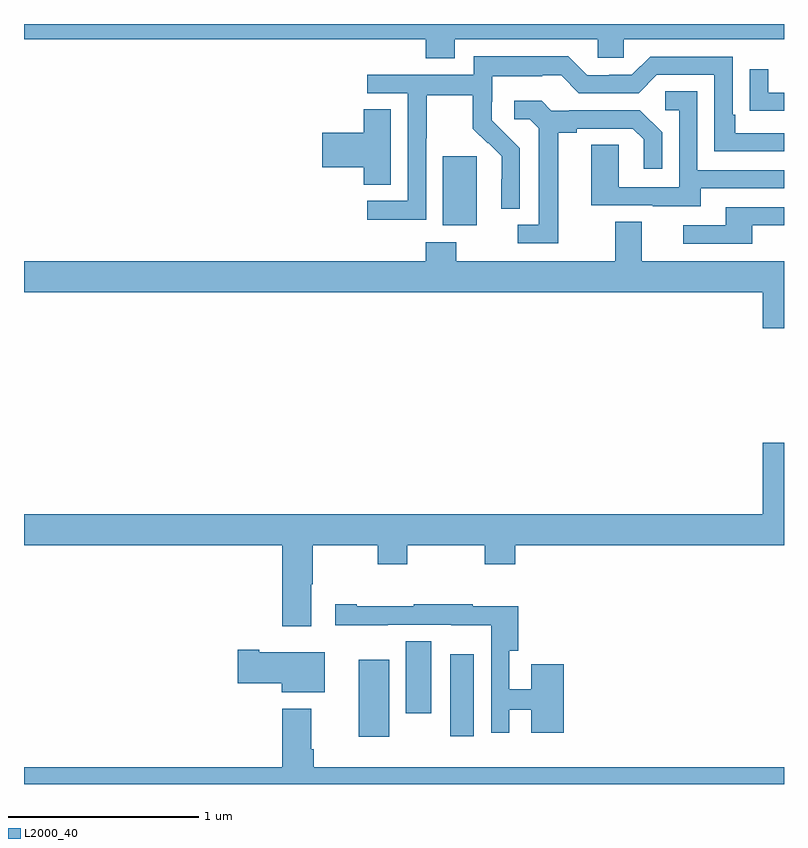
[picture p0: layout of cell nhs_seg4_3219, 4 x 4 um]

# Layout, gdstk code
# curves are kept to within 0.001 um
import gdstk
lib = gdstk.Library(unit=1e-6, precision=1e-09)
def R(c, l, rs):  # rectangles x0, y0, x1, y1
    for r in rs: c.add(gdstk.rectangle(r[:2], r[2:], *l))
def P(c, l, *ps):  # polygons
    for p in ps: c.add(gdstk.Polygon(p, *l))
L2000_40 = (2000, 40)

nhs_seg4_3219 = lib.new_cell('nhs_seg4_3219')
R(nhs_seg4_3219, L2000_40, [(282.761,793.149,282.922,793.555), (283.244,793.152,283.366,793.582), (283.01,793.272,283.144,793.652), (283.205,795.842,283.384,796.203)])
P(nhs_seg4_3219, L2000_40, [(283.267,796.82),(284.019,796.82),(284.019,796.722),(284.157,796.722),(284.157,796.82),(285,796.82),(285,796.9),(281,796.9),(281,796.82),(283.115,796.82),(283.115,796.721),(283.267,796.721)],
  [(283.116,796.3),(283.119,796.3),(283.119,796.524),(283.363,796.524),(283.363,796.349),(283.44,796.272),(283.443,796.275),(283.514,796.205),(283.514,796.082),(283.512,796.082),(283.512,795.928),(283.608,795.928),(283.608,796.246),(283.462,796.394),(283.462,796.491),(283.464,796.491),(283.464,796.625),(283.727,796.625),(283.727,796.629),(283.827,796.629),(283.92,796.536),(284.235,796.536),(284.331,796.632),(284.634,796.632),(284.634,796.23),(285,796.23),(285,796.326),(284.743,796.326),(284.743,796.423),(284.73,796.423),(284.73,796.728),(284.295,796.728),(284.199,796.632),(284.081,796.632),(284.081,796.629),(283.965,796.629),(283.865,796.729),(283.368,796.729),(283.368,796.632),(282.807,796.632),(282.807,796.536),(283.02,796.536),(283.02,795.969),(282.807,795.969),(282.807,795.871),(283.116,795.871)],
  [(285,796.539),(284.917,796.539),(284.917,796.663),(284.821,796.663),(284.821,796.444),(284.923,796.444),(284.923,796.443),(285,796.443)],
  [(284.563,796.035),(285,796.035),(285,796.131),(284.544,796.131),(284.544,796.547),(284.376,796.547),(284.376,796.446),(284.448,796.446),(284.448,796.041),(284.13,796.041),(284.13,796.265),(283.985,796.265),(283.985,795.945),(284.309,795.945),(284.309,795.941),(284.563,795.941)],
  [(283.813,796.328),(283.909,796.328),(283.909,796.35),(284.204,796.35),(284.261,796.293),(284.261,796.137),(284.358,796.137),(284.358,796.33),(284.242,796.446),(283.87,796.446),(283.87,796.443),(283.776,796.443),(283.724,796.495),(283.581,796.495),(283.581,796.398),(283.662,796.398),(283.709,796.351),(283.709,795.843),(283.599,795.843),(283.599,795.747),(283.813,795.747)],
  [(282.931,796.451),(282.788,796.451),(282.788,796.328),(282.57,796.328),(282.57,796.145),(282.788,796.145),(282.788,796.054),(282.931,796.054)],
  [(284.833,795.84),(285,795.84),(285,795.936),(284.693,795.936),(284.693,795.84),(284.469,795.84),(284.469,795.744),(284.833,795.744)],
  [(285,795.652),(284.251,795.652),(284.251,795.86),(284.111,795.86),(284.111,795.652),(283.275,795.652),(283.275,795.751),(283.115,795.751),(283.115,795.652),(281,795.652),(281,795.488),(284.888,795.488),(284.888,795.3),(285,795.3)],
  [(282.511,793.952),(282.519,793.952),(282.519,794.156),(282.862,794.156),(282.862,794.057),(283.017,794.057),(283.017,794.156),(283.426,794.156),(283.426,794.057),(283.586,794.057),(283.586,794.156),(285,794.156),(285,794.695),(284.888,794.695),(284.888,794.32),(281,794.32),(281,794.156),(282.359,794.156),(282.359,793.731),(282.511,793.731)],
  [(283.554,793.29),(283.67,793.29),(283.67,793.17),(283.841,793.17),(283.841,793.531),(283.67,793.531),(283.67,793.4),(283.554,793.4),(283.554,793.601),(283.601,793.601),(283.601,793.836),(283.361,793.836),(283.361,793.846),(283.051,793.846),(283.051,793.836),(282.751,793.836),(282.751,793.846),(282.639,793.846),(282.639,793.736),(282.914,793.736),(282.914,793.737),(283.248,793.737),(283.248,793.736),(283.458,793.736),(283.458,793.17),(283.554,793.17)],
  [(282.583,793.594),(282.238,793.594),(282.238,793.607),(282.126,793.607),(282.126,793.429),(282.356,793.429),(282.356,793.382),(282.583,793.382)],
  [(285,792.988),(282.524,792.988),(282.524,793.084),(282.511,793.084),(282.511,793.297),(282.359,793.297),(282.359,792.988),(281,792.988),(281,792.9),(285,792.9)])

lib.write_gds('nhs_seg4_3219.gds')
